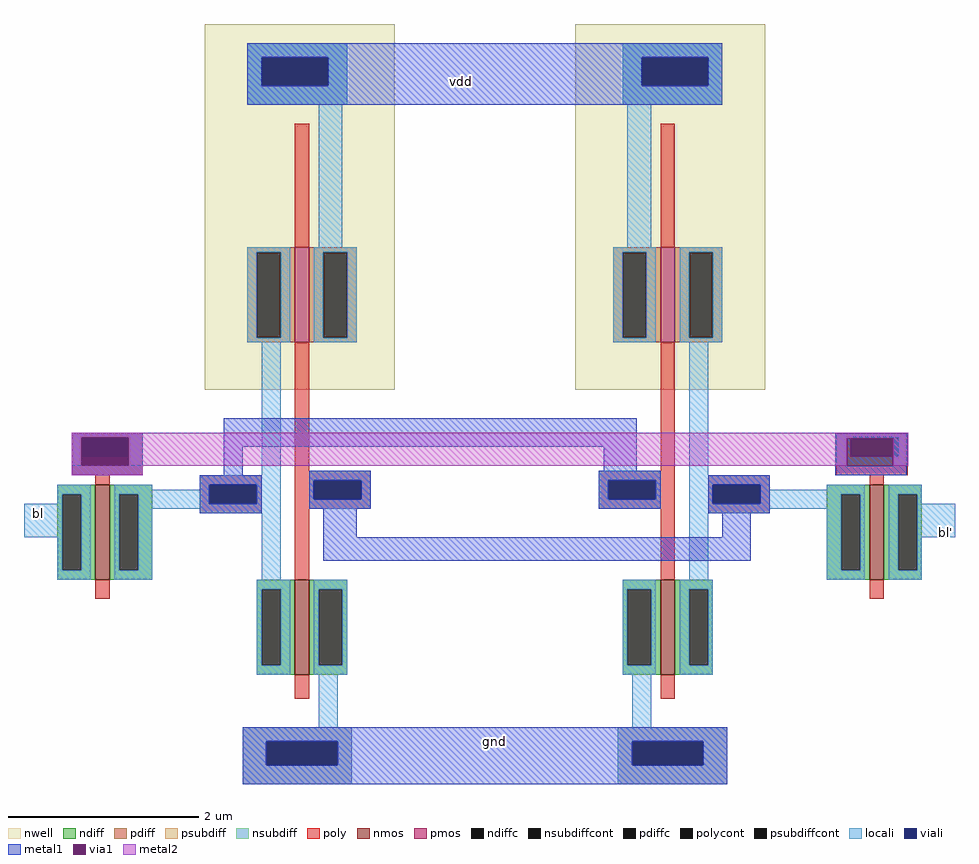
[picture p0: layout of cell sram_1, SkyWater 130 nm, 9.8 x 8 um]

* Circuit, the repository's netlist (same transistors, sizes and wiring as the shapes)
* SPICE3 file created from sram_1.ext - technology: sky130A

.subckt sram_1 bl gnd bl' vdd
X0 vdd a_0_n425# a_n195_n300# vdd sky130_fd_pr__pfet_01v8 ad=0.5 pd=3 as=0.5 ps=3 w=1 l=0.15
X1 gnd a_0_n425# a_n195_n300# gnd sky130_fd_pr__nfet_01v8 ad=0.4 pd=2.8 as=0.4 ps=2.8 w=1 l=0.15
X2 a_0_n425# a_n195_n300# vdd vdd sky130_fd_pr__pfet_01v8 ad=0.5 pd=3 as=0.5 ps=3 w=1 l=0.15
X3 a_n195_n300# a_n235_n190# bl gnd sky130_fd_pr__nfet_01v8 ad=0.45 pd=2.9 as=0.4 ps=2.8 w=1 l=0.15
X4 bl' a_570_n190# a_0_n425# gnd sky130_fd_pr__nfet_01v8 ad=0.4 pd=2.8 as=0.45 ps=2.9 w=1 l=0.15
X5 a_0_n425# a_n195_n300# gnd gnd sky130_fd_pr__nfet_01v8 ad=0.4 pd=2.8 as=0.4 ps=2.8 w=1 l=0.15
.ends

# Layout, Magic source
magic
tech sky130A
<< nwell >>
rect -95 -100 105 285
rect 295 -100 495 285
<< nmos >>
rect -210 -300 -195 -200
rect 605 -300 620 -200
rect 0 -400 15 -300
rect 385 -400 400 -300
<< pmos >>
rect 0 -50 15 50
rect 385 -50 400 50
<< ndiff >>
rect -250 -210 -210 -200
rect -250 -290 -245 -210
rect -225 -290 -210 -210
rect -250 -300 -210 -290
rect -195 -210 -150 -200
rect -195 -290 -185 -210
rect -165 -290 -150 -210
rect -195 -300 -150 -290
rect 560 -210 605 -200
rect 560 -290 575 -210
rect 595 -290 605 -210
rect 560 -300 605 -290
rect 620 -210 660 -200
rect 620 -290 635 -210
rect 655 -290 660 -210
rect 620 -300 660 -290
rect -40 -310 0 -300
rect -40 -390 -35 -310
rect -15 -390 0 -310
rect -40 -400 0 -390
rect 15 -310 55 -300
rect 15 -390 25 -310
rect 50 -390 55 -310
rect 15 -400 55 -390
rect 345 -310 385 -300
rect 345 -390 350 -310
rect 375 -390 385 -310
rect 345 -400 385 -390
rect 400 -310 440 -300
rect 400 -390 415 -310
rect 435 -390 440 -310
rect 400 -400 440 -390
<< pdiff >>
rect -50 45 0 50
rect -50 -45 -40 45
rect -15 -45 0 45
rect -50 -50 0 -45
rect 15 45 65 50
rect 15 -45 30 45
rect 55 -45 65 45
rect 15 -50 65 -45
rect 335 45 385 50
rect 335 -45 345 45
rect 370 -45 385 45
rect 335 -50 385 -45
rect 400 45 450 50
rect 400 -45 415 45
rect 440 -45 450 45
rect 400 -50 450 -45
<< ndiffc >>
rect -245 -290 -225 -210
rect -185 -290 -165 -210
rect 575 -290 595 -210
rect 635 -290 655 -210
rect -35 -390 -15 -310
rect 25 -390 50 -310
rect 350 -390 375 -310
rect 415 -390 435 -310
<< pdiffc >>
rect -40 -45 -15 45
rect 30 -45 55 45
rect 345 -45 370 45
rect 415 -45 440 45
<< psubdiff >>
rect -55 -470 60 -455
rect -55 -495 -30 -470
rect 45 -495 60 -470
rect -55 -515 60 -495
rect 340 -470 455 -455
rect 340 -495 355 -470
rect 430 -495 455 -470
rect 340 -515 455 -495
<< nsubdiff >>
rect -50 250 55 265
rect -50 220 -35 250
rect 35 220 55 250
rect -50 200 55 220
rect 345 250 450 265
rect 345 220 365 250
rect 435 220 450 250
rect 345 200 450 220
<< psubdiffcont >>
rect -30 -495 45 -470
rect 355 -495 430 -470
<< nsubdiffcont >>
rect -35 220 35 250
rect 365 220 435 250
<< poly >>
rect 0 50 15 180
rect 385 50 400 180
rect -235 -150 -160 -145
rect -235 -170 -225 -150
rect -175 -170 -160 -150
rect -235 -190 -160 -170
rect 0 -185 15 -50
rect 385 -185 400 -50
rect -210 -200 -195 -190
rect -100 -200 -35 -190
rect -100 -220 -90 -200
rect -40 -220 -35 -200
rect -100 -230 -35 -220
rect 0 -195 80 -185
rect 0 -215 20 -195
rect 70 -215 80 -195
rect 0 -225 80 -215
rect 320 -195 400 -185
rect 570 -150 645 -145
rect 570 -170 585 -150
rect 635 -170 645 -150
rect 570 -190 645 -170
rect 320 -215 330 -195
rect 380 -215 400 -195
rect 320 -225 400 -215
rect 0 -300 15 -225
rect 385 -300 400 -225
rect 435 -200 500 -190
rect 605 -200 620 -190
rect 435 -220 440 -200
rect 490 -220 500 -200
rect 435 -230 500 -220
rect -210 -320 -195 -300
rect 605 -320 620 -300
rect 0 -425 15 -400
rect 385 -425 400 -400
<< polycont >>
rect -225 -170 -175 -150
rect -90 -220 -40 -200
rect 20 -215 70 -195
rect 585 -170 635 -150
rect 330 -215 380 -195
rect 440 -220 490 -200
<< locali >>
rect -50 250 55 265
rect -50 220 -35 250
rect 35 220 55 250
rect -50 200 55 220
rect 345 250 450 265
rect 345 220 365 250
rect 435 220 450 250
rect 345 200 450 220
rect 25 50 50 200
rect 350 50 375 200
rect -50 45 -5 50
rect -50 -45 -40 45
rect -15 -45 -5 45
rect -50 -50 -5 -45
rect 20 45 65 50
rect 20 -45 30 45
rect 55 -45 65 45
rect 20 -50 65 -45
rect 335 45 380 50
rect 335 -45 345 45
rect 370 -45 380 45
rect 335 -50 380 -45
rect 405 45 450 50
rect 405 -45 415 45
rect 440 -45 450 45
rect 405 -50 450 -45
rect -235 -150 -160 -145
rect -235 -180 -225 -150
rect -175 -180 -160 -150
rect -35 -190 -15 -50
rect -100 -200 -15 -190
rect -250 -210 -215 -200
rect -250 -220 -245 -210
rect -285 -255 -245 -220
rect -250 -290 -245 -255
rect -225 -290 -215 -210
rect -250 -300 -215 -290
rect -190 -205 -150 -200
rect -100 -205 -90 -200
rect -190 -210 -90 -205
rect -190 -290 -185 -210
rect -165 -220 -90 -210
rect -40 -220 -15 -200
rect -165 -225 -15 -220
rect 15 -195 80 -185
rect 15 -215 20 -195
rect 70 -215 80 -195
rect 15 -225 80 -215
rect 320 -195 385 -185
rect 320 -215 330 -195
rect 380 -215 385 -195
rect 320 -225 385 -215
rect 415 -190 435 -50
rect 570 -150 645 -145
rect 570 -170 585 -150
rect 635 -170 645 -150
rect 570 -180 645 -170
rect 415 -200 500 -190
rect 415 -220 440 -200
rect 490 -205 500 -200
rect 560 -205 600 -200
rect 490 -210 600 -205
rect 490 -220 575 -210
rect 415 -225 575 -220
rect -165 -290 -150 -225
rect -100 -230 -15 -225
rect -190 -300 -150 -290
rect -35 -300 -15 -230
rect 415 -230 500 -225
rect 415 -300 435 -230
rect 560 -290 575 -225
rect 595 -290 600 -210
rect 560 -300 600 -290
rect 625 -210 660 -200
rect 625 -290 635 -210
rect 655 -220 660 -210
rect 655 -255 695 -220
rect 655 -290 660 -255
rect 625 -300 660 -290
rect -40 -310 -5 -300
rect -40 -390 -35 -310
rect -15 -390 -5 -310
rect -40 -400 -5 -390
rect 20 -310 55 -300
rect 20 -390 25 -310
rect 50 -390 55 -310
rect 20 -400 55 -390
rect 345 -310 380 -300
rect 345 -390 350 -310
rect 375 -390 380 -310
rect 345 -400 380 -390
rect 405 -310 440 -300
rect 405 -390 415 -310
rect 435 -390 440 -310
rect 405 -400 440 -390
rect 25 -455 45 -400
rect 355 -455 375 -400
rect -55 -470 60 -455
rect -55 -495 -30 -470
rect 45 -495 60 -470
rect -55 -515 60 -495
rect 340 -470 455 -455
rect 340 -495 355 -470
rect 430 -495 455 -470
rect 340 -515 455 -495
<< viali >>
rect -35 220 35 250
rect 365 220 435 250
rect -225 -170 -175 -150
rect -225 -180 -175 -170
rect -90 -220 -40 -200
rect 20 -215 70 -195
rect 330 -215 380 -195
rect 440 -220 490 -200
rect -30 -495 45 -470
rect 355 -495 430 -470
<< metal1 >>
rect -50 250 450 265
rect -50 220 -35 250
rect 35 220 365 250
rect 435 220 450 250
rect -50 200 450 220
rect -235 -150 -160 -145
rect -235 -180 -225 -150
rect -175 -180 -160 -150
rect -235 -190 -160 -180
rect -75 -160 360 -130
rect -75 -190 -55 -160
rect 325 -185 360 -160
rect 569 -151 644 -146
rect 569 -180 581 -151
rect 630 -180 644 -151
rect -100 -200 -35 -190
rect -100 -220 -90 -200
rect -40 -220 -35 -200
rect -100 -230 -35 -220
rect 15 -195 80 -185
rect 15 -215 20 -195
rect 70 -215 80 -195
rect 15 -225 80 -215
rect 320 -195 385 -185
rect 569 -190 644 -180
rect 320 -215 330 -195
rect 380 -215 385 -195
rect 320 -225 385 -215
rect 435 -200 500 -190
rect 435 -220 440 -200
rect 490 -220 500 -200
rect 30 -255 65 -225
rect 435 -230 500 -220
rect 450 -255 480 -230
rect 30 -280 480 -255
rect -55 -470 455 -455
rect -55 -495 -30 -470
rect 45 -495 355 -470
rect 430 -495 455 -470
rect -55 -515 455 -495
<< via1 >>
rect -225 -180 -175 -150
rect 581 -180 630 -151
<< metal2 >>
rect -235 -150 646 -145
rect -235 -180 -225 -150
rect -175 -151 646 -150
rect -175 -180 581 -151
rect 630 -180 646 -151
rect -235 -190 -160 -180
<< labels >>
rlabel locali -270 -230 -270 -230 1 bl
port 1 n
rlabel metal1 210 -470 210 -470 1 gnd
port 2 n
rlabel locali 685 -250 685 -250 1 bl'
port 3 n
rlabel metal1 175 225 175 225 1 vdd
port 4 n
<< end >>
